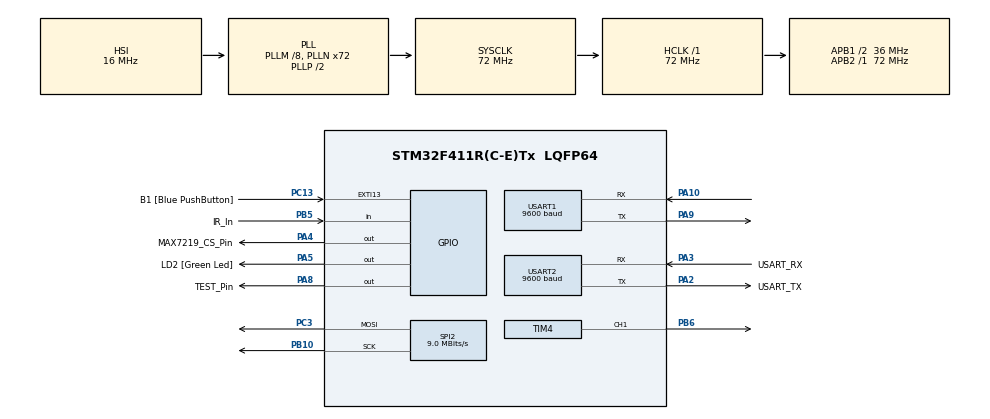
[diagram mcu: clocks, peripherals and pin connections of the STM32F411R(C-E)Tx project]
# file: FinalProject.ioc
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Mcu.Family=STM32F4
Mcu.Name=STM32F411R(C-E)Tx
Mcu.Package=LQFP64
NVIC.PriorityGroup=NVIC_PRIORITYGROUP_0
NVIC.TIM3_IRQn=true\:0\:0\:false\:false\:true\:true\:true
NVIC.TIM4_IRQn=true\:0\:0\:false\:false\:true\:true\:true
NVIC.USART1_IRQn=true\:0\:0\:false\:false\:true\:true\:true
PA10.Mode=Asynchronous
PA10.Signal=USART1_RX
PA13.GPIO_Label=TMS
PA13.Mode=Serial_Wire
PA13.Signal=SYS_JTMS-SWDIO
PA14.GPIO_Label=TCK
PA14.Mode=Serial_Wire
PA14.Signal=SYS_JTCK-SWCLK
PA2.GPIO_Label=USART_TX
PA2.Mode=Asynchronous
PA2.Signal=USART2_TX
PA3.GPIO_Label=USART_RX
PA3.Mode=Asynchronous
PA3.Signal=USART2_RX
PA4.GPIO_Label=MAX7219_CS_Pin
PA4.Signal=GPIO_Output
PA5.GPIO_Label=LD2 [Green Led]
PA5.Signal=GPIO_Output
PA8.GPIO_Label=TEST_Pin
PA8.Signal=GPIO_Output
PA9.Mode=Asynchronous
PA9.Signal=USART1_TX
PB10.Mode=TX_Only_Simplex_Unidirect_Master
PB10.Signal=SPI2_SCK
PB3.GPIO_Label=SWO
PB3.Signal=SYS_JTDO-SWO
PB5.GPIO_Label=IR_In
PB5.Signal=GPIO_Input
PB6.Signal=S_TIM4_CH1
PC13-ANTI_TAMP.GPIO_Label=B1 [Blue PushButton]
PC13-ANTI_TAMP.GPIO_ModeDefaultEXTI=GPIO_MODE_IT_FALLING
PC13-ANTI_TAMP.Signal=GPXTI13
PC14-OSC32_IN.Mode=LSE-External-Oscillator
PC14-OSC32_IN.Signal=RCC_OSC32_IN
PC15-OSC32_OUT.Mode=LSE-External-Oscillator
PC15-OSC32_OUT.Signal=RCC_OSC32_OUT
PC3.Mode=TX_Only_Simplex_Unidirect_Master
PC3.Signal=SPI2_MOSI
PH0\ -\ OSC_IN.Mode=HSE-External-Clock-Source
PH0\ -\ OSC_IN.Signal=RCC_OSC_IN
PH1\ -\ OSC_OUT.Mode=HSE-External-Clock-Source
PH1\ -\ OSC_OUT.Signal=RCC_OSC_OUT
ProjectManager.HeapSize=0x200
ProjectManager.StackSize=0x400
ProjectManager.TargetToolchain=STM32CubeIDE
RCC.48MHZClocksFreq_Value=36000000
RCC.AHBFreq_Value=72000000
RCC.APB1CLKDivider=RCC_HCLK_DIV2
RCC.APB1Freq_Value=36000000
RCC.APB1TimFreq_Value=72000000
RCC.APB2Freq_Value=72000000
RCC.APB2TimFreq_Value=72000000
RCC.CortexFreq_Value=72000000
RCC.FLatency-AdvancedSettings=FLASH_LATENCY_2
RCC.HCLKFreq_Value=72000000
RCC.HSE_VALUE=8000000
RCC.HSI_VALUE=16000000
RCC.PLLM=8
RCC.PLLN=72
RCC.SYSCLKFreq_VALUE=72000000
RCC.SYSCLKSource=RCC_SYSCLKSOURCE_PLLCLK
RCC.VCOOutputFreq_Value=144000000
SH.S_TIM4_CH1.0=TIM4_CH1,PWM Generation1 CH1
SPI2.BaudRatePrescaler=SPI_BAUDRATEPRESCALER_4
SPI2.CalculateBaudRate=9.0 MBits/s
SPI2.Direction=SPI_DIRECTION_2LINES
SPI2.Mode=SPI_MODE_MASTER
SPI2.VirtualType=VM_MASTER
TIM3.AutoReloadPreload=TIM_AUTORELOAD_PRELOAD_ENABLE
TIM3.CounterMode=TIM_COUNTERMODE_DOWN
TIM3.Period=63999
TIM3.Prescaler=5624
TIM4.AutoReloadPreload=TIM_AUTORELOAD_PRELOAD_DISABLE
TIM4.Channel-PWM\ Generation1\ CH1=TIM_CHANNEL_1
TIM4.Period=9
TIM4.Prescaler=71
USART1.BaudRate=9600
USART1.Parity=PARITY_NONE
USART1.VirtualMode=VM_ASYNC
USART1.WordLength=WORDLENGTH_8B
USART2.BaudRate=9600
USART2.VirtualMode=VM_ASYNC
VP_TIM3_VS_ClockSourceINT.Mode=Internal
VP_TIM4_VS_ClockSourceINT.Mode=Internal
board=NUCLEO-F411RE

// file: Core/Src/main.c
/* USER CODE BEGIN Header */
/**
 ******************************************************************************
 * @file           : main.c
 * @brief          : Main program body
 ******************************************************************************
 * @attention
 *
 * <h2><center>&copy; Copyright (c) 2020 STMicroelectronics.
 * All rights reserved.</center></h2>
 *
 * This software component is licensed by ST under BSD 3-Clause license,
 * the "License"; You may not use this file except in compliance with the
 * License. You may obtain a copy of the License at:
 *                        opensource.org/licenses/BSD-3-Clause
 *
 ******************************************************************************
 */
/* USER CODE END Header */

#include "main.h"

/* USER CODE BEGIN Includes */
#include "string.h"
#include <IR_Remote.h>
#include <stdlib.h>
//#include "spi.h"
//#include "gpio.h"
#include "max7219_digits.h"

/* USER CODE END Includes */

/* USER CODE BEGIN PM */
HAL_TIM_StateTypeDef pwm;
/* USER CODE END PM */

SPI_HandleTypeDef hspi2;

TIM_HandleTypeDef htim3;
TIM_HandleTypeDef htim4;

UART_HandleTypeDef huart1;
UART_HandleTypeDef huart2;

/* USER CODE BEGIN PV */
#define STR_LEN 300
#define SHORT_STR_LEN 50
uint16_t * rawData = NULL;
unsigned int rawLen = 0;
uint32_t protocolCode = 0;
int protocolBits = 0;
int protocol= UNUSED;
uint8_t recBuffer[STR_LEN];

char trans_str[STR_LEN];
remote_mode mode = NONE;
int should_receive = 1;
char delim[] = " ";
int len = 0;
int textIndex = -1;
int textDirection = 1;
int configMode = 0;
int bt_connected = 0;
int hasCalled = 0;

/* USER CODE END PV */

void SystemClock_Config(void);
static void MX_GPIO_Init(void);
static void MX_USART2_UART_Init(void);
static void MX_TIM4_Init(void);
static void MX_USART1_UART_Init(void);
static void MX_SPI2_Init(void);
static void MX_TIM3_Init(void);
/* USER CODE BEGIN PFP */
void reset();
/* USER CODE END PFP */

int main(void)
{
  /* USER CODE BEGIN 1 */
	uint8_t count = 0;
  /* USER CODE END 1 */

  /* MCU Configuration--------------------------------------------------------*/

  /* Reset of all peripherals, Initializes the Flash interface and the Systick. */
  HAL_Init();

  /* Configure the system clock */
  SystemClock_Config();

  /* Initialize all configured peripherals */
  MX_GPIO_Init();
  MX_USART2_UART_Init();
  MX_TIM4_Init();
  MX_USART1_UART_Init();
  MX_SPI2_Init();
  MX_TIM3_Init();
  /* USER CODE BEGIN 2 */
  HAL_TIM_Base_Start_IT(&htim3);
  HAL_GPIO_WritePin(GPIOA, MAX7219_CS_Pin|TEST_Pin, GPIO_PIN_RESET);
  MAX7219_Init(&hspi2);
  HAL_Delay(1000);
  //MAX7219_ClearAll();
  //MAX7219_PutString(0, "YALOLI");
//  HAL_Delay(500);
//  HAL_UART_Transmit(&huart1, "AT\n", 3, 100);
//  HAL_UART_Receive(&huart1, recBuffer, SHORT_STR_LEN, 200);
//  HAL_UART_Transmit(&huart1, "AT+NAMERC-Clone \n", 17, 100);
//  HAL_UART_Receive(&huart1, recBuffer, SHORT_STR_LEN, 200);
//  HAL_Delay(500);
//  HAL_UART_Transmit(&huart1, "AT+PIN1214 \n", 12, 100);
//  HAL_UART_Receive(&huart1, recBuffer, SHORT_STR_LEN, 200);
  HAL_UART_Transmit(&huart1, "OK\n", 3, 10);
  HAL_UART_Receive_IT(&huart1, recBuffer, 4);
  /* USER CODE END 2 */

  /* Infinite loop */
	while (1)
	{

    /* USER CODE BEGIN 3 */
		if (HAL_GPIO_ReadPin(B1_GPIO_Port, B1_Pin) == GPIO_PIN_RESET) {
			HAL_Delay(500);
			configMode = !configMode;
		}

		if (configMode) {
			MAX7219_ClearAll();
			MAX7219_PutString(0, "BL-CONF");
			__HAL_UART_ENABLE(&huart2);
			HAL_UART_AbortReceive_IT(&huart1);
			HAL_GPIO_WritePin(LD2_GPIO_Port, LD2_Pin, GPIO_PIN_SET);
			HAL_UART_Receive(&huart2, recBuffer, SHORT_STR_LEN, 100);
			if (recBuffer[0] == 'A' && recBuffer[1] == 'T') {
				len = strlen(recBuffer);
				HAL_UART_Transmit(&huart1, recBuffer, len, 100);
				HAL_Delay(500);
				HAL_UART_Receive(&huart1, recBuffer, SHORT_STR_LEN, 200);
				len = strlen(recBuffer);
				HAL_UART_Transmit(&huart2, recBuffer, len, 100);
			}

			memset(recBuffer, 0, STR_LEN);
			continue;
		}
		__HAL_UART_DISABLE(&huart2);
		HAL_GPIO_WritePin(LD2_GPIO_Port, LD2_Pin, GPIO_PIN_RESET);
		switch(mode) {
		case TRAN:
			MAX7219_ClearAll();
			MAX7219_PutString(0, "sEnd");
			bt_connected = 0;
			if (rawLen > 0 || protocolBits > 0) {
				HAL_GPIO_TogglePin(LD2_GPIO_Port, LD2_Pin);
				send(rawData, rawLen, protocolCode, protocolBits, protocol);
				HAL_GPIO_TogglePin(LD2_GPIO_Port, LD2_Pin);
			}
			reset();
			HAL_UART_Receive_IT(&huart1, recBuffer, 4);
			break;
		case DECODE:
			MAX7219_ClearAll();
			MAX7219_PutString(0, "dECodE");
			bt_connected = 0;
			if (protocol == UNKNOWN) {
				if (rawData) {
					free(rawData);
				}
				rawData = (uint16_t *) calloc(rawLen, sizeof(uint16_t));
				char *ptr = strtok(trans_str, delim);
				int i = 0;
				while(ptr != NULL && i < rawLen)
				{
					rawData[i] = atoi(ptr);
					ptr = strtok(NULL, delim);
					i++;
				}
			}
			else {
				char *ptr = strtok(trans_str, delim);
				protocolBits = atoi(ptr);
				ptr = strtok(NULL, delim);
				protocolCode = strtoul(ptr, NULL, 10);
			}

			mode = TRAN;
			break;
		case RECV:
			bt_connected = 0;
			if (in_enabled == 0) {
				my_enableIRIn();
				MAX7219_ClearAll();
				MAX7219_PutString(0, "ClONE");
			}

			if(my_decode(&results))
			{
				HAL_GPIO_TogglePin(LD2_GPIO_Port, LD2_Pin);

				memset(trans_str, 0, STR_LEN);
				sprintf(trans_str, "%d %d", results.decode_type, results.rawlen);
				if (results.rawlen > 0) {
					for (int i = 0; i < results.rawlen; ++i) {
						sprintf(trans_str, "%s %d", trans_str, results.rawbuf[i]);
					}
				}
				sprintf(trans_str, "%s %d", trans_str, results.bits);
				if (results.bits > 0) {
					sprintf(trans_str, "%s %u\n", trans_str, results.value);
				}
				len = strlen(trans_str);
				HAL_UART_Transmit_IT(&huart1, trans_str, len); // CHANGE THIS TO IT Mode After DEBUG

				HAL_GPIO_TogglePin(LD2_GPIO_Port, LD2_Pin);
				reset();
				HAL_UART_Receive_IT(&huart1, recBuffer, 4);
			}
			break;
		default:
			if (should_receive) {
				HAL_UART_Receive_IT(&huart1, recBuffer, 4);
			}

			if (bt_connected) continue;
			if (textIndex > 1) {
				textIndex = 1;
				textDirection = 0;
			}
			if(textIndex < -1) {
				textIndex = -1;
				textDirection = 1;
			}
			MAX7219_ClearAll();
			MAX7219_PutString(textIndex, "RC-ClONE");
			if (textDirection) {
				textIndex++;
			}
			else {
				textIndex--;
			}
			HAL_Delay(100);
		}

	}
  /* USER CODE END 3 */
}

void SystemClock_Config(void)
{
  RCC_OscInitTypeDef RCC_OscInitStruct = {0};
  RCC_ClkInitTypeDef RCC_ClkInitStruct = {0};

  /** Configure the main internal regulator output voltage
  */
  __HAL_RCC_PWR_CLK_ENABLE();
  __HAL_PWR_VOLTAGESCALING_CONFIG(PWR_REGULATOR_VOLTAGE_SCALE1);
  /** Initializes the CPU, AHB and APB busses clocks
  */
  RCC_OscInitStruct.OscillatorType = RCC_OSCILLATORTYPE_HSI;
  RCC_OscInitStruct.HSIState = RCC_HSI_ON;
  RCC_OscInitStruct.HSICalibrationValue = RCC_HSICALIBRATION_DEFAULT;
  RCC_OscInitStruct.PLL.PLLState = RCC_PLL_ON;
  RCC_OscInitStruct.PLL.PLLSource = RCC_PLLSOURCE_HSI;
  RCC_OscInitStruct.PLL.PLLM = 8;
  RCC_OscInitStruct.PLL.PLLN = 72;
  RCC_OscInitStruct.PLL.PLLP = RCC_PLLP_DIV2;
  RCC_OscInitStruct.PLL.PLLQ = 4;
  if (HAL_RCC_OscConfig(&RCC_OscInitStruct) != HAL_OK)
  {
    Error_Handler();
  }
  /** Initializes the CPU, AHB and APB busses clocks
  */
  RCC_ClkInitStruct.ClockType = RCC_CLOCKTYPE_HCLK|RCC_CLOCKTYPE_SYSCLK
                              |RCC_CLOCKTYPE_PCLK1|RCC_CLOCKTYPE_PCLK2;
  RCC_ClkInitStruct.SYSCLKSource = RCC_SYSCLKSOURCE_PLLCLK;
  RCC_ClkInitStruct.AHBCLKDivider = RCC_SYSCLK_DIV1;
  RCC_ClkInitStruct.APB1CLKDivider = RCC_HCLK_DIV2;
  RCC_ClkInitStruct.APB2CLKDivider = RCC_HCLK_DIV1;

  if (HAL_RCC_ClockConfig(&RCC_ClkInitStruct, FLASH_LATENCY_2) != HAL_OK)
  {
    Error_Handler();
  }
}

static void MX_SPI2_Init(void)
{

  /* SPI2 parameter configuration*/
  hspi2.Instance = SPI2;
  hspi2.Init.Mode = SPI_MODE_MASTER;
  hspi2.Init.Direction = SPI_DIRECTION_2LINES;
  hspi2.Init.DataSize = SPI_DATASIZE_8BIT;
  hspi2.Init.CLKPolarity = SPI_POLARITY_LOW;
  hspi2.Init.CLKPhase = SPI_PHASE_1EDGE;
  hspi2.Init.NSS = SPI_NSS_SOFT;
  hspi2.Init.BaudRatePrescaler = SPI_BAUDRATEPRESCALER_4;
  hspi2.Init.FirstBit = SPI_FIRSTBIT_MSB;
  hspi2.Init.TIMode = SPI_TIMODE_DISABLE;
  hspi2.Init.CRCCalculation = SPI_CRCCALCULATION_DISABLE;
  hspi2.Init.CRCPolynomial = 10;
  if (HAL_SPI_Init(&hspi2) != HAL_OK)
  {
    Error_Handler();
  }

}

static void MX_TIM3_Init(void)
{

  TIM_ClockConfigTypeDef sClockSourceConfig = {0};
  TIM_MasterConfigTypeDef sMasterConfig = {0};

  htim3.Instance = TIM3;
  htim3.Init.Prescaler = 5624;
  htim3.Init.CounterMode = TIM_COUNTERMODE_DOWN;
  htim3.Init.Period = 63999;
  htim3.Init.ClockDivision = TIM_CLOCKDIVISION_DIV1;
  htim3.Init.AutoReloadPreload = TIM_AUTORELOAD_PRELOAD_ENABLE;
  if (HAL_TIM_Base_Init(&htim3) != HAL_OK)
  {
    Error_Handler();
  }
  sClockSourceConfig.ClockSource = TIM_CLOCKSOURCE_INTERNAL;
  if (HAL_TIM_ConfigClockSource(&htim3, &sClockSourceConfig) != HAL_OK)
  {
    Error_Handler();
  }
  sMasterConfig.MasterOutputTrigger = TIM_TRGO_RESET;
  sMasterConfig.MasterSlaveMode = TIM_MASTERSLAVEMODE_DISABLE;
  if (HAL_TIMEx_MasterConfigSynchronization(&htim3, &sMasterConfig) != HAL_OK)
  {
    Error_Handler();
  }

}

static void MX_TIM4_Init(void)
{

  TIM_ClockConfigTypeDef sClockSourceConfig = {0};
  TIM_MasterConfigTypeDef sMasterConfig = {0};
  TIM_OC_InitTypeDef sConfigOC = {0};

  htim4.Instance = TIM4;
  htim4.Init.Prescaler = 71;
  htim4.Init.CounterMode = TIM_COUNTERMODE_UP;
  htim4.Init.Period = 9;
  htim4.Init.ClockDivision = TIM_CLOCKDIVISION_DIV1;
  htim4.Init.AutoReloadPreload = TIM_AUTORELOAD_PRELOAD_DISABLE;
  if (HAL_TIM_Base_Init(&htim4) != HAL_OK)
  {
    Error_Handler();
  }
  sClockSourceConfig.ClockSource = TIM_CLOCKSOURCE_INTERNAL;
  if (HAL_TIM_ConfigClockSource(&htim4, &sClockSourceConfig) != HAL_OK)
  {
    Error_Handler();
  }
  if (HAL_TIM_PWM_Init(&htim4) != HAL_OK)
  {
    Error_Handler();
  }
  sMasterConfig.MasterOutputTrigger = TIM_TRGO_RESET;
  sMasterConfig.MasterSlaveMode = TIM_MASTERSLAVEMODE_DISABLE;
  if (HAL_TIMEx_MasterConfigSynchronization(&htim4, &sMasterConfig) != HAL_OK)
  {
    Error_Handler();
  }
  sConfigOC.OCMode = TIM_OCMODE_PWM1;
  sConfigOC.Pulse = 0;
  sConfigOC.OCPolarity = TIM_OCPOLARITY_HIGH;
  sConfigOC.OCFastMode = TIM_OCFAST_DISABLE;
  if (HAL_TIM_PWM_ConfigChannel(&htim4, &sConfigOC, TIM_CHANNEL_1) != HAL_OK)
  {
    Error_Handler();
  }
  HAL_TIM_MspPostInit(&htim4);

}

static void MX_USART1_UART_Init(void)
{

  huart1.Instance = USART1;
  huart1.Init.BaudRate = 9600;
  huart1.Init.WordLength = UART_WORDLENGTH_8B;
  huart1.Init.StopBits = UART_STOPBITS_1;
  huart1.Init.Parity = UART_PARITY_NONE;
  huart1.Init.Mode = UART_MODE_TX_RX;
  huart1.Init.HwFlowCtl = UART_HWCONTROL_NONE;
  huart1.Init.OverSampling = UART_OVERSAMPLING_16;
  if (HAL_UART_Init(&huart1) != HAL_OK)
  {
    Error_Handler();
  }
  /* USER CODE BEGIN USART1_Init 2 */
  __HAL_UART_ENABLE_IT(&huart1, UART_IT_TC); // TX Flag
  __HAL_UART_ENABLE_IT(&huart1, UART_IT_RXNE); // RX Flag
  /* USER CODE END USART1_Init 2 */

}

static void MX_USART2_UART_Init(void)
{

  huart2.Instance = USART2;
  huart2.Init.BaudRate = 9600;
  huart2.Init.WordLength = UART_WORDLENGTH_8B;
  huart2.Init.StopBits = UART_STOPBITS_1;
  huart2.Init.Parity = UART_PARITY_NONE;
  huart2.Init.Mode = UART_MODE_TX_RX;
  huart2.Init.HwFlowCtl = UART_HWCONTROL_NONE;
  huart2.Init.OverSampling = UART_OVERSAMPLING_16;
  if (HAL_UART_Init(&huart2) != HAL_OK)
  {
    Error_Handler();
  }

}

static void MX_GPIO_Init(void)
{
  GPIO_InitTypeDef GPIO_InitStruct = {0};

  /* GPIO Ports Clock Enable */
  __HAL_RCC_GPIOC_CLK_ENABLE();
  __HAL_RCC_GPIOH_CLK_ENABLE();
  __HAL_RCC_GPIOA_CLK_ENABLE();
  __HAL_RCC_GPIOB_CLK_ENABLE();

  /*Configure GPIO pin Output Level */
  HAL_GPIO_WritePin(GPIOA, MAX7219_CS_Pin_Pin|LD2_Pin|TEST_Pin_Pin, GPIO_PIN_RESET);

  /*Configure GPIO pin : B1_Pin */
  GPIO_InitStruct.Pin = B1_Pin;
  GPIO_InitStruct.Mode = GPIO_MODE_IT_FALLING;
  GPIO_InitStruct.Pull = GPIO_NOPULL;
  HAL_GPIO_Init(B1_GPIO_Port, &GPIO_InitStruct);

  /*Configure GPIO pins : MAX7219_CS_Pin_Pin LD2_Pin TEST_Pin_Pin */
  GPIO_InitStruct.Pin = MAX7219_CS_Pin_Pin|LD2_Pin|TEST_Pin_Pin;
  GPIO_InitStruct.Mode = GPIO_MODE_OUTPUT_PP;
  GPIO_InitStruct.Pull = GPIO_NOPULL;
  GPIO_InitStruct.Speed = GPIO_SPEED_FREQ_LOW;
  HAL_GPIO_Init(GPIOA, &GPIO_InitStruct);

  /*Configure GPIO pin : IR_In_Pin */
  GPIO_InitStruct.Pin = IR_In_Pin;
  GPIO_InitStruct.Mode = GPIO_MODE_INPUT;
  GPIO_InitStruct.Pull = GPIO_NOPULL;
  HAL_GPIO_Init(IR_In_GPIO_Port, &GPIO_InitStruct);

}

/* USER CODE BEGIN 4 */

void reset() {
	mode = NONE;
	protocol = UNUSED;
	protocolBits = 0;
	protocolCode = 0;
	if (rawData) {
		free(rawData);
	}
	rawData = NULL;
	rawLen = 0;
	should_receive = 1;
	my_disable();
	textIndex = -1;
	textDirection = 1;
}

// Only use recBuffer here. Otherwise it wouldnt be complete.
void HAL_UART_RxCpltCallback(UART_HandleTypeDef *huart)
{
	if (huart->Instance == USART1){
		int is_ok = 0;
		char message[5] = "OK\n";
		hasCalled = 1;
		if (mode == NONE) {
			if (protocol != UNUSED) {
				memset(trans_str, 0, STR_LEN);
				len = strlen(recBuffer);
				memcpy(trans_str, recBuffer, sizeof(char) * len);
				mode = DECODE;
				memset(recBuffer, 0, STR_LEN);
				//HAL_UART_Transmit(&huart1, message, 3, 10);
				return;
			}
		}

		if (strcmp(recBuffer, "RUOK") == 0) {
			// Are you ok message.
			protocol = UNUSED;
			is_ok = 1;
		}
		else if (strcmp(recBuffer, "RSET") == 0) {
			// Reset message. Reset everything.
			reset();
			is_ok = 1;

		}
		else if (strcmp(recBuffer, "RECV") == 0) {
			mode = RECV;
			is_ok = 1;
		}
		else if (recBuffer[0] == 'R' && recBuffer[1] == 'W') {
			// Raw command being sent. Prepare to receive raw timings array
			int len = atoi(&recBuffer[2]);
			if (len > 0 && len < 100) {
				protocol = UNKNOWN;
				rawLen = len;
			}
			should_receive = 0;
			HAL_UART_Receive_IT(&huart1, recBuffer, STR_LEN);
			is_ok = 1;
		}
		else if (recBuffer[0] == 'R') {
			// Raw command being sent. Prepare to receive raw timings array
			int prot = atoi(&recBuffer[1]);
			if (prot > 0 && prot < 100) {
				protocol = prot;
			}
			should_receive = 0;
			HAL_UART_Receive_IT(&huart1, recBuffer, SHORT_STR_LEN);
			is_ok = 1;
		}
		memset(recBuffer, 0, STR_LEN);
		if (is_ok == 0) {
			MAX7219_ClearAll();
			MAX7219_PutString(0, "Err");
			HAL_NVIC_SystemReset();
		}
		HAL_UART_Transmit(&huart1, message, 3, 10);
		if (should_receive) {
			if (!bt_connected) {
				MAX7219_ClearAll();
				MAX7219_PutString(0, "RC-ClONE");
			}
			bt_connected = 1;
			HAL_UART_Receive_IT(&huart1, recBuffer, 4);
		}
	}
}

/* USER CODE END 4 */

void Error_Handler(void)
{
}

/************************ (C) COPYRIGHT STMicroelectronics *****END OF FILE****/
